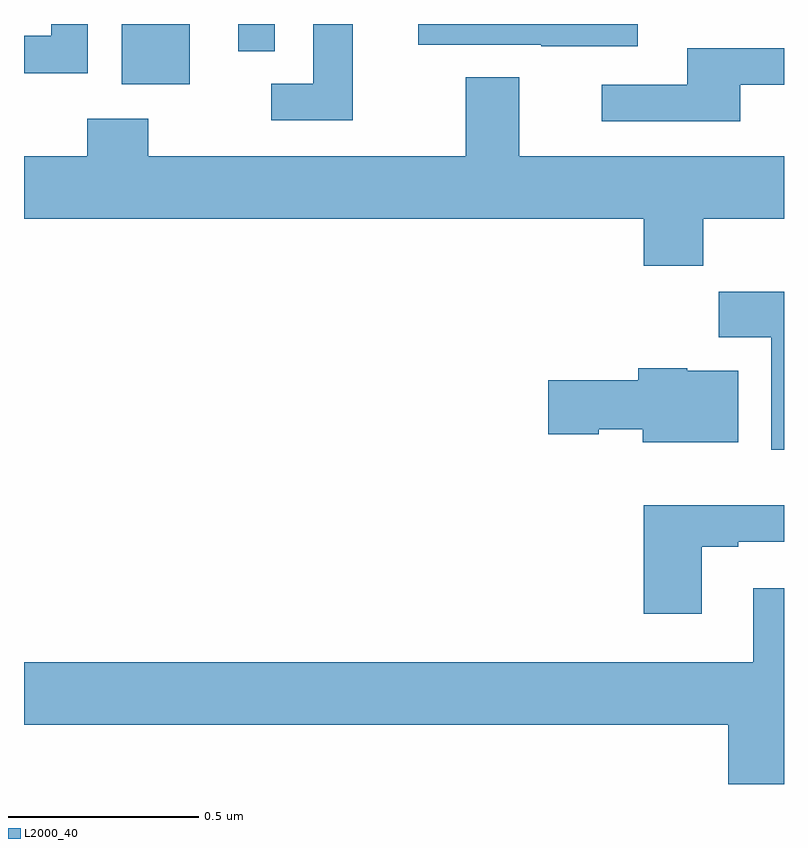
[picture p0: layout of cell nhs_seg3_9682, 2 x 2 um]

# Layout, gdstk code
import gdstk
lib = gdstk.Library(unit=1e-6, precision=1e-09)
def R(c, l, rs):  # rectangles x0, y0, x1, y1
    for r in rs: c.add(gdstk.rectangle(r[:2], r[2:], *l))
def P(c, l, *ps):  # polygons
    for p in ps: c.add(gdstk.Polygon(p, *l))
L2000_40 = (2000, 40)

nhs_seg3_9682 = lib.new_cell('nhs_seg3_9682')
R(nhs_seg3_9682, L2000_40, [(231.257,729.242,231.436,729.4), (231.564,729.328,231.66,729.4)])
P(nhs_seg3_9682, L2000_40, [(231.865,729.4),(231.761,729.4),(231.761,729.243),(231.651,729.243),(231.651,729.147),(231.865,729.147)],
  [(232.615,729.4),(232.037,729.4),(232.037,729.345),(232.361,729.345),(232.361,729.341),(232.615,729.341)],
  [(231.168,729.4),(231.072,729.4),(231.072,729.369),(231,729.369),(231,729.271),(231.168,729.271)],
  [(232.885,729.24),(233,729.24),(233,729.336),(232.745,729.336),(232.745,729.24),(232.521,729.24),(232.521,729.144),(232.885,729.144)],
  [(232.787,728.888),(233,728.888),(233,729.052),(232.303,729.052),(232.303,729.26),(232.163,729.26),(232.163,729.052),(231.327,729.052),(231.327,729.151),(231.167,729.151),(231.167,729.052),(231,729.052),(231,728.888),(232.631,728.888),(232.631,728.764),(232.787,728.764)],
  [(233,728.695),(232.828,728.695),(232.828,728.576),(232.967,728.576),(232.967,728.28),(233,728.28)],
  [(232.879,728.488),(232.746,728.488),(232.746,728.494),(232.616,728.494),(232.616,728.463),(232.38,728.463),(232.38,728.321),(232.512,728.321),(232.512,728.333),(232.628,728.333),(232.628,728.3),(232.879,728.3)],
  [(232.783,728.025),(232.879,728.025),(232.879,728.037),(233,728.037),(233,728.134),(232.631,728.134),(232.631,727.848),(232.783,727.848)],
  [(233,727.915),(232.919,727.915),(232.919,727.72),(231,727.72),(231,727.556),(232.853,727.556),(232.853,727.4),(233,727.4)])

lib.write_gds('nhs_seg3_9682.gds')
